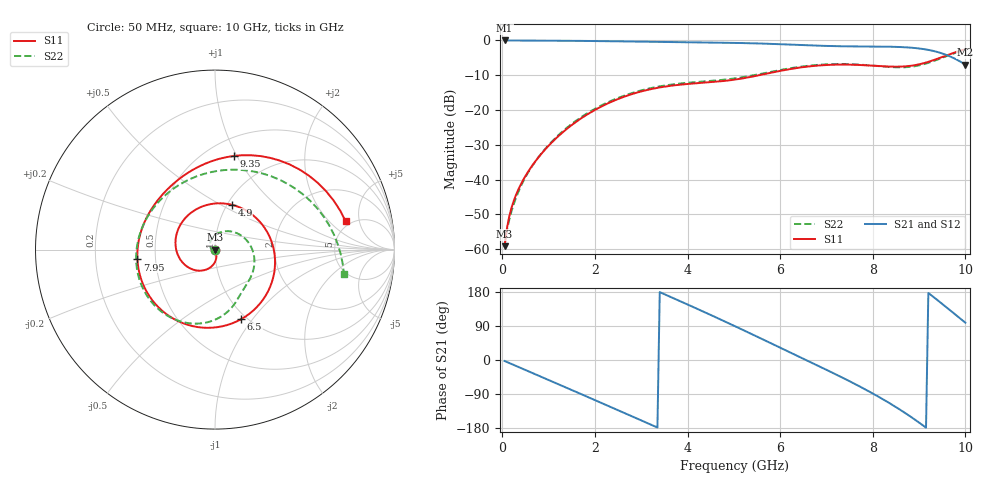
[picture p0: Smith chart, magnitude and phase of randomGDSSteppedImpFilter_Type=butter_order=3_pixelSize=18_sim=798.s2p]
! freq	dB(S11)	phase(S11)	dB(S12)	phase(S12)
!  dB(S21)	phase(S21)	dB(S22)	phase(S22)
!S-par simulation data
#  GHz  S  DB  R 50
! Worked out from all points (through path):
!   200 points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, 50 MHz to 10 GHz, reference 50 ohm
!   highest |S21| = 0.00 dB at 50 MHz (marker M1); lowest = -7.0 dB at 10 GHz (marker M2)
!   group delay of S21, straight-line fit = 164 ps
!   lowest |S11| = -59.1 dB at 50 MHz (marker M3), VSWR 1.00, Z = 50.1 - j0.0922 ohm
!   |S11| at or under -10 dB: start of sweep to 5.544 GHz
!   |S22| runs from -58.8 to -2.7 dB; largest |S21 - S12| = 0
!   S11 on the Smith chart (normalised r, x): 50 MHz: 1.00, -0.00; 4.9 GHz: 1.05, +0.57; 6.5 GHz: 0.94, -0.88; 7.95 GHz: 0.39, -0.05; 9.35 GHz: 0.67, +0.97; 10 GHz: 4.52, +3.19
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0.05  -59.13 -56.3  -0.00 -2.7  -0.00 -2.7  -58.80 -76.0
0.1  -54.01 -69.7  -0.01 -5.3  -0.01 -5.3  -54.58 -88.7
0.2  -48.05 -75.2  -0.02 -10.6  -0.02 -10.6  -49.07 -112.6
0.5  -38.96 -74.3  -0.04 -26.4  -0.04 -26.4  -39.30 -159.2
1.15  -28.26 -78.5  -0.08 -60.7  -0.08 -60.7  -27.99 134.6
1.75  -21.98 -94.6  -0.14 -92.5  -0.14 -92.5  -21.63 87.7
2.2  -18.59 -111.8  -0.20 -116.5  -0.20 -116.5  -18.26 57.4
2.65  -16.08 -132.6  -0.28 -140.6  -0.28 -140.6  -15.78 30.4
3.4  -13.50 -174.3  -0.44 179.1  -0.44 179.1  -13.19 -8.2
4.1  -12.40 137.7  -0.56 141.1  -0.56 141.1  -12.05 -35.9
4.9  -11.48 69.5  -0.68 96.3  -0.68 96.3  -11.11 -57.1
5.05  -11.20 55.5  -0.72 87.7  -0.72 87.7  -10.85 -60.4
5.8  -9.29 -12.8  -0.98 44.3  -0.98 44.3  -9.02 -78.8
6.5  -7.66 -69.3  -1.35 3.4  -1.35 3.4  -7.44 -103.7
6.7  -7.35 -84.3  -1.45 -8.3  -1.45 -8.3  -7.15 -112.1
7.3  -6.94 -127.2  -1.67 -43.8  -1.67 -43.8  -6.78 -140.8
7.95  -7.22 -172.8  -1.75 -85.0  -1.75 -85.0  -7.18 -179.4
8.35  -7.51 158.7  -1.80 -113.0  -1.80 -113.0  -7.62 150.6
8.9  -7.13 117.6  -2.16 -156.5  -2.16 -156.5  -7.42 99.1
9.35  -5.48 78.7  -3.15 162.6  -3.15 162.6  -5.74 52.0
9.7  -3.77 43.7  -4.78 128.1  -4.78 128.1  -3.97 16.8
10  -2.56 12.1  -6.97 98.6  -6.97 98.6  -2.73 -10.6
